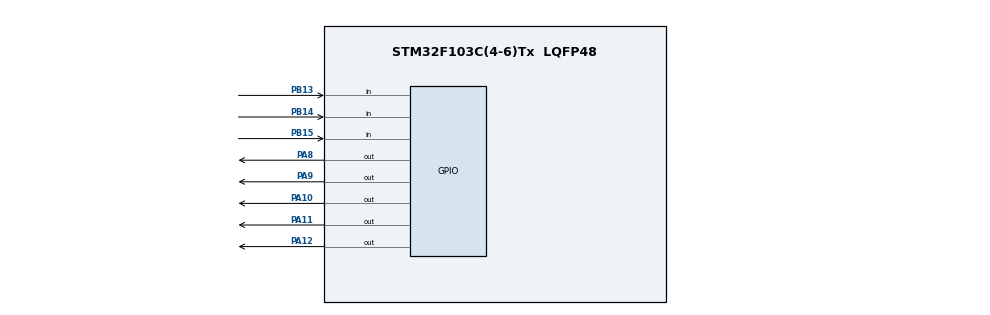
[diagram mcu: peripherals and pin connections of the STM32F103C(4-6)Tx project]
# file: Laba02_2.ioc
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Mcu.Family=STM32F1
Mcu.Name=STM32F103C(4-6)Tx
Mcu.Package=LQFP48
NVIC.PriorityGroup=NVIC_PRIORITYGROUP_4
PA10.Signal=GPIO_Output
PA11.Signal=GPIO_Output
PA12.Signal=GPIO_Output
PA8.Signal=GPIO_Output
PA9.Signal=GPIO_Output
PB13.Signal=GPIO_Input
PB14.Signal=GPIO_Input
PB15.Signal=GPIO_Input
ProjectManager.HeapSize=0x200
ProjectManager.StackSize=0x400
ProjectManager.TargetToolchain=STM32CubeIDE
RCC.APB1Freq_Value=8000000
RCC.APB2Freq_Value=8000000
VP_SYS_VS_ND.Mode=No_Debug
board=custom

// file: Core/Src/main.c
/* USER CODE BEGIN Header */
/**
  ******************************************************************************
  * @file           : main.c
  * @brief          : Main program body
  ******************************************************************************
  * @attention
  *
  * <h2><center>&copy; Copyright (c) 2021 STMicroelectronics.
  * All rights reserved.</center></h2>
  *
  * This software component is licensed by ST under BSD 3-Clause license,
  * the "License"; You may not use this file except in compliance with the
  * License. You may obtain a copy of the License at:
  *                        opensource.org/licenses/BSD-3-Clause
  *
  ******************************************************************************
  */
/* USER CODE END Header */
#include "main.h"
#include "gpio.h"

/* USER CODE BEGIN PV */
int l1_prev = 0;
int l1_current = 0;
int l2_prev = 0;
int l2_current = 0;
int l3_prev = 0;
int l3_current = 0;
int l4_prev = 0;
int l4_current = 0;

/* USER CODE END PV */

void SystemClock_Config(void);

int main(void)
{

  /* MCU Configuration--------------------------------------------------------*/

  /* Reset of all peripherals, Initializes the Flash interface and the Systick. */
  HAL_Init();

  /* Configure the system clock */
  SystemClock_Config();

  /* Initialize all configured peripherals */
  MX_GPIO_Init();

  /* Infinite loop */
  /* USER CODE BEGIN WHILE */
  HAL_GPIO_TogglePin(GPIOA, GPIO_PIN_9);
  HAL_GPIO_TogglePin(GPIOA, GPIO_PIN_10);
  HAL_GPIO_TogglePin(GPIOA, GPIO_PIN_11);
  HAL_GPIO_TogglePin(GPIOA, GPIO_PIN_12);
  while (1)
  {

	  if (HAL_GPIO_ReadPin(GPIOB, GPIO_PIN_15) == GPIO_PIN_SET) {
		  HAL_GPIO_WritePin(GPIOA, GPIO_PIN_8, GPIO_PIN_SET);
	  } else {
		  HAL_GPIO_WritePin(GPIOA, GPIO_PIN_8, GPIO_PIN_RESET);
	  }

	  if(HAL_GPIO_ReadPin(GPIOB, GPIO_PIN_14) == GPIO_PIN_SET)
	  {

		  HAL_GPIO_TogglePin(GPIOA, GPIO_PIN_9);
		  HAL_Delay(500);
		  HAL_GPIO_TogglePin(GPIOA, GPIO_PIN_9);
		  HAL_GPIO_TogglePin(GPIOA, GPIO_PIN_10);
		  HAL_Delay(500);
		  HAL_GPIO_TogglePin(GPIOA, GPIO_PIN_10);
		  HAL_GPIO_TogglePin(GPIOA, GPIO_PIN_11);
		  HAL_Delay(500);
		  HAL_GPIO_TogglePin(GPIOA, GPIO_PIN_11);
		  HAL_GPIO_TogglePin(GPIOA, GPIO_PIN_12);
		  HAL_Delay(500);
		  HAL_GPIO_TogglePin(GPIOA, GPIO_PIN_12);
	  }

	  if(HAL_GPIO_ReadPin(GPIOB, GPIO_PIN_13) == GPIO_PIN_SET)
	  {
		  int first = HAL_GPIO_ReadPin(GPIOA, GPIO_PIN_9);
		  int second = HAL_GPIO_ReadPin(GPIOA, GPIO_PIN_10);
		  int third = HAL_GPIO_ReadPin(GPIOA, GPIO_PIN_11);
		  int four = HAL_GPIO_ReadPin(GPIOA, GPIO_PIN_12);

		  if(first != 0 && second != 0 && third != 0 && four != 0)
		  {
			  HAL_GPIO_TogglePin(GPIOA, GPIO_PIN_9);
			  first = 0;
			  HAL_Delay(500);
		  }else if(first == 0 && second != 0 && third != 0 && four != 0)
		  {
			  HAL_GPIO_TogglePin(GPIOA, GPIO_PIN_10);
			  second = 0;
			  HAL_Delay(500);
		  }else if(first == 0 && second == 0 && third != 0 && four != 0)
		  {
			  HAL_GPIO_TogglePin(GPIOA, GPIO_PIN_11);
			  third = 0;
			  HAL_Delay(500);
		  }else if(first == 0 && second == 0 && third == 0 && four != 0)
		  {
			  HAL_GPIO_TogglePin(GPIOA, GPIO_PIN_12);
			  four = 0;
			  HAL_Delay(500);
		  }else if(first == 0 && second == 0 && third == 0 && four == 0)
		  {
			  HAL_GPIO_TogglePin(GPIOA, GPIO_PIN_9);
			  HAL_GPIO_TogglePin(GPIOA, GPIO_PIN_10);
			  HAL_GPIO_TogglePin(GPIOA, GPIO_PIN_11);
			  HAL_GPIO_TogglePin(GPIOA, GPIO_PIN_12);
			  HAL_Delay(500);
		  }

	  }
    /* USER CODE END WHILE */

  }
}

void SystemClock_Config(void)
{
  RCC_OscInitTypeDef RCC_OscInitStruct = {0};
  RCC_ClkInitTypeDef RCC_ClkInitStruct = {0};

  /** Initializes the RCC Oscillators according to the specified parameters
  * in the RCC_OscInitTypeDef structure.
  */
  RCC_OscInitStruct.OscillatorType = RCC_OSCILLATORTYPE_HSI;
  RCC_OscInitStruct.HSIState = RCC_HSI_ON;
  RCC_OscInitStruct.HSICalibrationValue = RCC_HSICALIBRATION_DEFAULT;
  RCC_OscInitStruct.PLL.PLLState = RCC_PLL_NONE;
  if (HAL_RCC_OscConfig(&RCC_OscInitStruct) != HAL_OK)
  {
    Error_Handler();
  }
  /** Initializes the CPU, AHB and APB buses clocks
  */
  RCC_ClkInitStruct.ClockType = RCC_CLOCKTYPE_HCLK|RCC_CLOCKTYPE_SYSCLK
                              |RCC_CLOCKTYPE_PCLK1|RCC_CLOCKTYPE_PCLK2;
  RCC_ClkInitStruct.SYSCLKSource = RCC_SYSCLKSOURCE_HSI;
  RCC_ClkInitStruct.AHBCLKDivider = RCC_SYSCLK_DIV1;
  RCC_ClkInitStruct.APB1CLKDivider = RCC_HCLK_DIV1;
  RCC_ClkInitStruct.APB2CLKDivider = RCC_HCLK_DIV1;

  if (HAL_RCC_ClockConfig(&RCC_ClkInitStruct, FLASH_LATENCY_0) != HAL_OK)
  {
    Error_Handler();
  }
}

void Error_Handler(void)
{
  __disable_irq();
  while (1)
  {
  }
}

/************************ (C) COPYRIGHT STMicroelectronics *****END OF FILE****/
